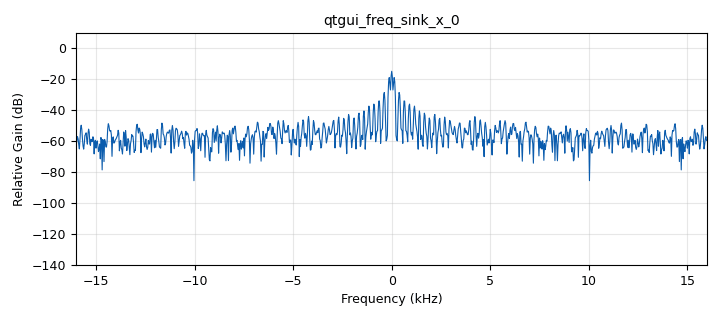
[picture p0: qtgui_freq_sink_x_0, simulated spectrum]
options:
  parameters:
    generate_options: qt_gui
    id: run_surface_plot_test
    output_language: python
    title: Not titled yet
  states: {}

blocks:
- name: samp_rate
  id: variable
  parameters:
    value: '32000'
  states: {}
- name: analog_fastnoise_source_x_0
  id: analog_fastnoise_source_x
  parameters:
    amp: '0.1'
    noise_type: analog.GR_GAUSSIAN
    samples: '8192'
    seed: '0'
    type: float
  states: {}
- name: analog_sig_source_x_0
  id: analog_sig_source_x
  parameters:
    amp: '1'
    freq: '128'
    offset: '0'
    phase: '0'
    samp_rate: samp_rate
    type: float
    waveform: analog.GR_SQR_WAVE
  states: {}
- name: blocks_abs_xx_0
  id: blocks_abs_xx
  parameters:
    type: float
    vlen: '1024'
  states: {}
- name: blocks_add_xx_0
  id: blocks_add_xx
  parameters:
    type: float
  states: {}
- name: blocks_complex_to_real_0
  id: blocks_complex_to_real
  parameters:
    vlen: '1024'
  states: {}
- name: blocks_stream_to_vector_0
  id: blocks_stream_to_vector
  parameters:
    num_items: '1024'
    type: float
  states: {}
- name: blocks_throttle_0
  id: blocks_throttle
  parameters:
    samples_per_second: samp_rate
    type: float
  states: {}
- name: custom_gui_surface_plot_0
  id: custom_gui_surface_plot
  parameters:
    fps: '3'
    gheight: '100'
    gwidth: '100'
    height: '100'
    maxz: '100'
    vlen: '1024'
    width: '100'
    xaxis: X axis
    yaxis: Y axis
    zaxis: Z axis
  states: {}
- name: fft_vxx_0
  id: fft_vxx
  parameters:
    fft_size: '1024'
    forward: 'True'
    shift: 'True'
    type: float
    window: window.blackmanharris(1024)
  states: {}
- name: qtgui_freq_sink_x_0
  id: qtgui_freq_sink_x
  parameters:
    bw: samp_rate
    fc: '0'
    fftsize: '1024'
    type: float
    wintype: firdes.WIN_BLACKMAN_hARRIS
  states: {}

connections:
- [analog_fastnoise_source_x_0, '0', blocks_add_xx_0, '0']
- [analog_sig_source_x_0, '0', blocks_add_xx_0, '1']
- [blocks_abs_xx_0, '0', custom_gui_surface_plot_0, '0']
- [blocks_add_xx_0, '0', blocks_throttle_0, '0']
- [blocks_complex_to_real_0, '0', blocks_abs_xx_0, '0']
- [blocks_stream_to_vector_0, '0', fft_vxx_0, '0']
- [blocks_throttle_0, '0', blocks_stream_to_vector_0, '0']
- [blocks_throttle_0, '0', qtgui_freq_sink_x_0, '0']
- [fft_vxx_0, '0', blocks_complex_to_real_0, '0']

metadata:
  file_format: 1
